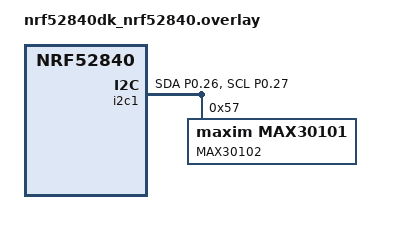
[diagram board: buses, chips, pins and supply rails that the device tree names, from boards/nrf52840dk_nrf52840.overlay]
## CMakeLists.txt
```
# SPDX-License-Identifier: Apache-2.0

cmake_minimum_required(VERSION 3.20.0)
find_package(Zephyr REQUIRED HINTS $ENV{ZEPHYR_BASE})
project(max30101)

FILE(GLOB app_sources 
    src/*.c
    src/main.c
   
)
target_sources(app PRIVATE ${app_sources})



# --- Link prebuilt .a file ---
set(MYLIB_PATH ${CMAKE_CURRENT_SOURCE_DIR}/libas7058a_spo2_a0.a)

add_library(mylib STATIC IMPORTED)
set_target_properties(mylib PROPERTIES IMPORTED_LOCATION ${MYLIB_PATH})

# If you also have headers:
# set_target_properties(mylib PROPERTIES INTERFACE_INCLUDE_DIRECTORIES
#     ${CMAKE_CURRENT_SOURCE_DIR}/include
# )

target_link_libraries(app PRIVATE mylib)
```

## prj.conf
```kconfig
CONFIG_STDOUT_CONSOLE=y
CONFIG_LOG=y
CONFIG_I2C=y
CONFIG_SENSOR=y
CONFIG_SENSOR_LOG_LEVEL_DBG=y

CONFIG_GPIO=y

# Enable FPU on Cortex-M with single-precision (typical M4F/M33F)
CONFIG_FPU=y
CONFIG_FP_HARDABI=y     # if multiple threads/ISRs use floats

# Make IRQ stack bigger (primary fix for “Fault during interrupt handling”)
   # try 2048 or 3072 on nRF54L15

# Give the system workqueue more room (our handler runs here)
CONFIG_SYSTEM_WORKQUEUE_STACK_SIZE=8196

CONFIG_ISR_STACK_SIZE=3072


# Main stack size (if crash is in main thread)
CONFIG_MAIN_STACK_SIZE=4096



# Idle stack size
CONFIG_IDLE_STACK_SIZE=512
```

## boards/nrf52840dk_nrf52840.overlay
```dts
&pinctrl {
    i2c1_default: i2c1_default {
        group1 {
            psels = <NRF_PSEL(TWIM_SDA, 0, 26)>,
                    <NRF_PSEL(TWIM_SCL, 0, 27)>;
        };
    };

    i2c1_sleep: i2c1_sleep {
        group1 {
            psels = <NRF_PSEL(TWIM_SDA, 0, 26)>,
                    <NRF_PSEL(TWIM_SCL, 0, 27)>;
            low-power-enable;
        };
    };
};

&i2c1 {
    status = "okay";
    pinctrl-0 = <&i2c1_default>;
    pinctrl-1 = <&i2c1_sleep>;
    pinctrl-names = "default", "sleep";

    max30102: max30101@57 {
        compatible = "maxim,max30101";
        reg = <0x57>;
        label = "MAX30102";
        status = "okay";
    };
};
```

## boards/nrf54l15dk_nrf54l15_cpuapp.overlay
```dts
// To get started, press Ctrl+Space to bring up the completion menu and view the available nodes.
// For more help, browse the DeviceTree documentation at https://docs.zephyrproject.org/latest/guides/dts/index.html

&i2c21 {
    status = "okay";
    pinctrl-0 = <&i2c21_default>;
    pinctrl-1 = <&i2c21_sleep>;
    pinctrl-names = "default", "sleep";
};


&pinctrl {
	/omit-if-no-ref/ i2c21_default: i2c21_default {
		group1 {
			psels = <NRF_PSEL(TWIM_SCL, 1, 11)>,
				    <NRF_PSEL(TWIM_SDA, 1, 12)>;
		};
	};
    /omit-if-no-ref/ i2c21_sleep: i2c21_sleep {
		group1 {
			psels = <NRF_PSEL(TWIM_SCL, 1, 11)>,
				    <NRF_PSEL(TWIM_SDA, 1, 12)>;
		};
	};
};



/* App-owned properties you can read from code */
 / {
	zephyr,user {
		/* IRQ on P0.09, active-low, with internal pull-up */
		my_sensor_int_gpios = <&gpio1 9 (GPIO_ACTIVE_LOW | GPIO_PULL_UP)>;
	};
};
```

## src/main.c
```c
// AS7058 PPG Data Processing System - OPTIMIZED VERSION
// Focuses on efficient raw PPG data collection and processing
// Streamlined for continuous measurement and data analysis

#include <zephyr/kernel.h>
#include <zephyr/device.h>


#include <signal.h>
#include <stdio.h>
#include <string.h>
#include <unistd.h>

#include "error_codes.h"

#include "as7058_chiplib.h"

#include "vital_signs_accelerometer.h"

#include "as7058a_spo2_a0.h"

#include <zephyr/drivers/gpio.h>
#include <zephyr/drivers/i2c.h>

#include "as7058_osal_chiplib.h"



/*! internal structure which saves OSAL internal parameter */
struct device_config {
    volatile uint8_t init_done;                /*!< 0 < ::as7058_osal_initialize was successful called */
    volatile as7058_osal_interrupt_t callback; /*!< saves the link to the callback function of the chiplib */
};

/******************************************************************************
 *                                  GLOBALS                                   *
 ******************************************************************************/

/*! I2C address of the AS7058 */




/*! Create internal instance of the device configuration */
static struct device_config g_device_config;

/* Pull the GPIO spec from DT: */
static const struct gpio_dt_spec sens_int = GPIO_DT_SPEC_GET(DT_PATH(zephyr_user), my_sensor_int_gpios);
/* Declare the callback object */
static struct gpio_callback sens_cb;


/******************************************************************************
 *                                   GLOBALS                                  *
 ******************************************************************************/

/* Stores whether the SpO2 library is ready for execution. Note that this variable is accessed from multiple threads and
 * that this information should be signaled in a safer way in production code. */
static volatile uint8_t g_ready_for_execution = FALSE;

/* Stores whether the sample code should continue running or whether a stop was requested. Note that this variable is
 * accessed from multiple threads and that this information should be signaled in a safer way in production code. */
static volatile uint8_t g_keep_running = TRUE;

/******************************************************************************
 *                               LOCAL FUNCTIONS                              *
 ******************************************************************************/

/* SIGINT/SIGTERM handler requesting the sample code to stop when Ctrl+C is pressed. */
void signal_handler(int signal)
{
    if (SIGINT == signal || SIGTERM == signal) {
        g_keep_running = FALSE;
    }
}

/* Callback function called by the AS7058 Chip Library when measurement data is available. Data generated by the AS7058A
 * AFE or by the AS7058 Chip Library is provided via function arguments and doesn't need to be polled explicitly. The
 * function forwards the data to the SpO2 library. */
static void as7058_callback(err_code_t error, const uint8_t *p_fifo_data, uint16_t fifo_data_size,
                            const agc_status_t *p_agc_statuses, uint8_t agc_statuses_num,
                            as7058_status_events_t sensor_events, const void *p_cb_param)
{

    //printk("as7058_callback\n");
    /* Unused parameter, silence potentially enabled compiler warning. */
    M_UNUSED_PARAM(p_cb_param);

    err_code_t result = error;
    if (result != ERR_SUCCESS) {
        printf("as7058_callback called with error %d.\n", result);
        return;
    }

    /* Pass data to the SpO2 library. */
    uint8_t ready_for_execution = 0;
    result = as7058a_spo2_a0_set_input(p_fifo_data, fifo_data_size, sensor_events, p_agc_statuses, agc_statuses_num,
                                       &ready_for_execution);
    if (result != ERR_SUCCESS) {
        printf("as7058a_spo2_a0_set_input returned error %d.\n", result);
        return;
    }

    if (ready_for_execution) {
        /* Store the information that the SpO2 algorithm is ready for execution. The main thread will execute the
         * algorithm depending on this information. */
        g_ready_for_execution = ready_for_execution;
    }
}

/******************************************************************************
 *                              GLOBAL FUNCTIONS                              *
 ******************************************************************************/


int main(void)
{


    /**************************************************************************
     *                             INITIALIZATION                             *
     **************************************************************************/

    /* Initialize the AS7058 Chip Library. For this sample code, only the first and the fourth argument of this function
     * are of relevance. The other arguments can be set to NULL. The first argument points to a callback function that
     * is called when new measurement data of the regular measurement mode is available. The fourth argument is an
     * OSAL-specific interface string. For the Windows OSAL that is used by this sample code, this string needs to
     * contain the serial port the AS7058A EVK is connected to, prefixed by "COM:". Assuming that the AS7058A EVK is
     * connected to serial port COM7, the interface string needs to be "COM:COM7". */


    err_code_t result = as7058_initialize(as7058_callback, NULL, NULL, NULL);
    if (result != ERR_SUCCESS) {
        printf("as7058_initialize returned error %d.\n", result);
        goto ERROR;
    }


    /* Initialize the SpO2 library. */
    result = as7058a_spo2_a0_initialize();
    if (result != ERR_SUCCESS) {
        printf("as7058a_spo2_a0_initialize returned error %d.\n", result);
        goto ERROR;
    }

    /**************************************************************************
     *                              CONFIGURATION                             *
     **************************************************************************/

    /* Apply a register configuration to the AS7058A AFE using the AS7058 Chip Library. This configuration is suitable
     * for SpO2 measurements using the AS7058A EVK. For more information regarding the register values, please refer to
     * the datasheet. */

    /* Configure register group POWER of the AS7058A AFE. */
    const as7058_reg_group_power_t power_config = {{
        .pwr_on = 7,
        .pwr_iso = 0,
        .clk_cfg = 7,
        .ref_cfg1 = 63,
        .ref_cfg2 = 0,
        .ref_cfg3 = 0,
        .standby_on1 = 0,
        .standby_on2 = 0,
        .standby_en1 = 4,
        .standby_en2 = 2,
        .standby_en3 = 4,
        .standby_en4 = 0,
        .standby_en5 = 3,
        .standby_en6 = 16,
        .standby_en7 = 16,
        .standby_en8 = 4,
        .standby_en9 = 0,
        .standby_en10 = 3,
        .standby_en11 = 16,
        .standby_en12 = 16,
        .standby_en13 = 16,
        .standby_en14 = 16,
    }};
    result = as7058_set_reg_group(AS7058_REG_GROUP_ID_PWR, power_config.reg_buffer, sizeof(as7058_reg_group_power_t));
    if (result != ERR_SUCCESS) {
        printf("Writing register group AS7058_REG_GROUP_ID_PWR returned error %d.\n", result);
        goto ERROR;
    }

    /* Configure register group CONTROL of the AS7058A AFE. */
    const as7058_reg_group_control_t control_config = {{
        .i2c_mode = 0,
        .int_cfg = 0,
        .if_cfg = 72,
        .gpio_cfg1 = 0,
        .gpio_cfg2 = 0,
        .io_cfg = 0,
    }};
    result =
        as7058_set_reg_group(AS7058_REG_GROUP_ID_CTRL, control_config.reg_buffer, sizeof(as7058_reg_group_control_t));
    if (result != ERR_SUCCESS) {
        printf("Writing register group AS7058_REG_GROUP_ID_CTRL returned error %d.\n", result);
        goto ERROR;
    }

    /* Configure register group LED of the AS7058A AFE. */
    const as7058_reg_group_led_t led_config = {{
        .vcsel_password = 87,
        .vcsel_cfg = 0,
        .vcsel_mode = 0,
        .led_cfg = 0,
        .led_drv1 = 0,
        .led_drv2 = 0,
        .led1_ictrl = 0,
        .led2_ictrl = 0,
        .led3_ictrl = 0,
        .led4_ictrl = 0,
        .led5_ictrl = 0,
        .led6_ictrl = 0,
        .led7_ictrl = 0,
        .led8_ictrl = 0,
        .led_irng1 = 63,
        .led_irng2 = 0,
        .led_sub1 = 2,
        .led_sub2 = 3,
        .led_sub3 = 0,
        .led_sub4 = 0,
        .led_sub5 = 0,
        .led_sub6 = 0,
        .led_sub7 = 0,
        .led_sub8 = 0,
        .lowvds_wait = 0,
    }};
    result = as7058_set_reg_group(AS7058_REG_GROUP_ID_LED, led_config.reg_buffer, sizeof(as7058_reg_group_led_t));
    if (result != ERR_SUCCESS) {
        printf("Writing register group AS7058_REG_GROUP_ID_LED returned error %d.\n", result);
        goto ERROR;
    }

    /* Configure register group PD of the AS7058A AFE. */
    const as7058_reg_group_pd_t pd_config = {{
        .pdsel_cfg = 0,
        .ppg1_pdsel1 = 2,
        .ppg1_pdsel2 = 2,
        .ppg1_pdsel3 = 2,
        .ppg1_pdsel4 = 0,
        .ppg1_pdsel5 = 0,
        .ppg1_pdsel6 = 0,
        .ppg1_pdsel7 = 0,
        .ppg1_pdsel8 = 0,
        .ppg2_pdsel1 = 0,
        .ppg2_pdsel2 = 0,
        .ppg2_pdsel3 = 0,
        .ppg2_pdsel4 = 0,
        .ppg2_pdsel5 = 0,
        .ppg2_pdsel6 = 0,
        .ppg2_pdsel7 = 0,
        .ppg2_pdsel8 = 0,
        .ppg2_afesel1 = 0,
        .ppg2_afesel2 = 0,
        .ppg2_afesel3 = 0,
        .ppg2_afesel4 = 0,
        .ppg2_afeen = 0,
    }};
    result = as7058_set_reg_group(AS7058_REG_GROUP_ID_PD, pd_config.reg_buffer, sizeof(as7058_reg_group_pd_t));
    if (result != ERR_SUCCESS) {
        printf("Writing register group AS7058_REG_GROUP_ID_PD returned error %d.\n", result);
        goto ERROR;
    }

    /* Configure register group IOS of the AS7058A AFE. */
    const as7058_reg_group_ios_t ios_config = {{
        .ios_ppg1_sub1 = 0,
        .ios_ppg1_sub2 = 0,
        .ios_ppg1_sub3 = 0,
        .ios_ppg1_sub4 = 0,
        .ios_ppg1_sub5 = 0,
        .ios_ppg1_sub6 = 0,
        .ios_ppg1_sub7 = 0,
        .ios_ppg1_sub8 = 0,
        .ios_ppg2_sub1 = 0,
        .ios_ppg2_sub2 = 0,
        .ios_ppg2_sub3 = 0,
        .ios_ppg2_sub4 = 0,
        .ios_ppg2_sub5 = 0,
        .ios_ppg2_sub6 = 0,
        .ios_ppg2_sub7 = 0,
        .ios_ppg2_sub8 = 0,
        .ios_ledoff = 0,
        .ios_cfg = 0,
        .aoc_sar_thres = 0,
        .aoc_sar_range = 0,
        .aoc_sar_ppg1 = 0,
        .aoc_sar_ppg2 = 0,

    }};
    result = as7058_set_reg_group(AS7058_REG_GROUP_ID_IOS, ios_config.reg_buffer, sizeof(as7058_reg_group_ios_t));
    if (result != ERR_SUCCESS) {
        printf("Writing register group AS7058_REG_GROUP_ID_IOS returned error %d.\n", result);
        goto ERROR;
    }

    /* Configure register group PPG of the AS7058A AFE. */
    const as7058_reg_group_ppg_t ppg_config = {{
        .ppgmod_cfg1 = 0,
        .ppgmod_cfg2 = 0,
        .ppgmod_cfg3 = 0,
        .ppgmod1_cfg1 = 167,
        .ppgmod1_cfg2 = 100,
        .ppgmod1_cfg3 = 7,
        .ppgmod2_cfg1 = 39,
        .ppgmod2_cfg2 = 84,
        .ppgmod2_cfg3 = 3,
    }};
    result = as7058_set_reg_group(AS7058_REG_GROUP_ID_PPG, ppg_config.reg_buffer, sizeof(as7058_reg_group_ppg_t));
    if (result != ERR_SUCCESS) {
        printf("Writing register group AS7058_REG_GROUP_ID_PPG returned error %d.\n", result);
        goto ERROR;
    }

    /* Configure register group ECG of the AS7058A AFE. */
    const as7058_reg_group_ecg_t ecg_config = {{
        .bioz_cfg = 0,
        .bioz_excit = 0,
        .bioz_mixer = 0,
        .bioz_select = 0,
        .bioz_gain = 0,
        .ecgmod_cfg1 = 0,
        .ecgmod_cfg2 = 0,
        .ecgimux_cfg1 = 0,
        .ecgimux_cfg2 = 0,
        .ecgimux_cfg3 = 0,
        .ecgamp_cfg1 = 0,
        .ecgamp_cfg2 = 0,
        .ecgamp_cfg3 = 0,
        .ecgamp_cfg4 = 0,
        .ecgamp_cfg5 = 0,
        .ecgamp_cfg6 = 0,
        .ecgamp_cfg7 = 0,
        .ecg_bioz = 0,
        .leadoff_cfg = 0,
        .leadoff_thresl = 0,
        .leadoff_thresh = 0,
    }};
    result = as7058_set_reg_group(AS7058_REG_GROUP_ID_ECG, ecg_config.reg_buffer, sizeof(as7058_reg_group_ecg_t));
    if (result != ERR_SUCCESS) {
        printf("Writing register group AS7058_REG_GROUP_ID_ECG returned error %d.\n", result);
        goto ERROR;
    }

    /* Configure register group SINC of the AS7058A AFE. */
    const as7058_reg_group_sinc_t sinc_config = {{
        .ppg_sinc_cfga = 4,
        .ppg_sinc_cfgb = 3,
        .ppg_sinc_cfgc = 0,
        .ppg_sinc_cfgd = 0,
        .ecg1_sinc_cfga = 0,
        .ecg1_sinc_cfgb = 0,
        .ecg1_sinc_cfgc = 0,
        .ecg2_sinc_cfga = 0,
        .ecg2_sinc_cfgb = 0,
        .ecg2_sinc_cfgc = 0,
        .ecg_sinc_cfg = 0,
    }};
    result = as7058_set_reg_group(AS7058_REG_GROUP_ID_SINC, sinc_config.reg_buffer, sizeof(as7058_reg_group_sinc_t));
    if (result != ERR_SUCCESS) {
        printf("Writing register group AS7058_REG_GROUP_ID_SINC returned error %d.\n", result);
        goto ERROR;
    }

    /* Configure register group SEQ of the AS7058A AFE. */
    const as7058_reg_group_seq_t seq_config = {{
        .irq_enable = 22,
        .ppg_sub_wait = 50,
        .ppg_sar_wait = 0,
        .ppg_led_init = 25,
        .ppg_freql = 63,
        .ppg_freqh = 1,
        .ppg1_sub_en = 7,
        .ppg2_sub_en = 0,
        .ppg_mode_1 = 0,
        .ppg_mode_2 = 0,
        .ppg_mode_3 = 0,
        .ppg_mode_4 = 0,
        .ppg_mode_5 = 0,
        .ppg_mode_6 = 0,
        .ppg_mode_7 = 0,
        .ppg_mode_8 = 0,
        .ppg_cfg = 0,
        .ecg_freql = 79,
        .ecg_freqh = 0,
        .ecg1_freqdivl = 0,
        .ecg1_freqdivh = 0,
        .ecg2_freqdivl = 0,
        .ecg2_freqdivh = 0,
        .ecg_subs = 0,
        .leadoff_initl = 0,
        .leadoff_inith = 0,
        .ecg_initl = 1,
        .ecg_inith = 0,
        .sample_num = 0,
    }};
    result = as7058_set_reg_group(AS7058_REG_GROUP_ID_SEQ, seq_config.reg_buffer, sizeof(as7058_reg_group_seq_t));
    if (result != ERR_SUCCESS) {
        printf("Writing register group AS7058_REG_GROUP_ID_SEQ returned error %d.\n", result);
        goto ERROR;
    }

    /* Configure register group PP of the AS7058A AFE. */
    const as7058_reg_group_pp_t pp_config = {{
        .pp_cfg = 0,
        .ppg1_pp1 = 0,
        .ppg1_pp2 = 0,
        .ppg2_pp1 = 0,
        .ppg2_pp2 = 0,
    }};
    result = as7058_set_reg_group(AS7058_REG_GROUP_ID_PP, pp_config.reg_buffer, sizeof(as7058_reg_group_pp_t));
    if (result != ERR_SUCCESS) {
        printf("Writing register group AS7058_REG_GROUP_ID_PP returned error %d.\n", result);
        goto ERROR;
    }

    /* Configure register group FIFO of the AS7058A AFE. */
    const as7058_reg_group_fifo_t fifo_config = {{
        .fifo_threshold = 14,
        .fifo_ctrl = 0,
    }};
    result = as7058_set_reg_group(AS7058_REG_GROUP_ID_FIFO, fifo_config.reg_buffer, sizeof(as7058_reg_group_fifo_t));
    if (result != ERR_SUCCESS) {
        printf("Writing register group AS7058_REG_GROUP_ID_FIFO returned error %d.\n", result);
        goto ERROR;
    }

    /* Configure the Automatic Gain Control (AGC) algorithm using a dual-channel configuration that is suitable for SpO2
     * measurements using the AS7058A EVK. */
    const agc_configuration_t agc_config[2] = {
        {
            .mode = AGC_MODE_DEFAULT,
            .led_control_mode = AGC_AMPL_CNTL_MODE_AUTO,
            .channel = AS7058_SUB_SAMPLE_ID_PPG1_SUB1,
            .led_current_min = 15,
            .led_current_max = 50,
            .rel_amplitude_min_x100 = 5,
            .rel_amplitude_max_x100 = 25,
            .rel_amplitude_motion_x100 = 50,
            .num_led_steps = 5,
            .threshold_min = 300000,
            .threshold_max = 800000,
        },
        {
            .mode = AGC_MODE_DEFAULT,
            .led_control_mode = AGC_AMPL_CNTL_MODE_AUTO,
            .channel = AS7058_SUB_SAMPLE_ID_PPG1_SUB2,
            .led_current_min = 10,
            .led_current_max = 30,
            .rel_amplitude_min_x100 = 5,
            .rel_amplitude_max_x100 = 25,
            .rel_amplitude_motion_x100 = 50,
            .num_led_steps = 5,
            .threshold_min = 250000,
            .threshold_max = 770000,
        },
    };
    result = as7058_set_agc_config(agc_config, 2);
    if (result != ERR_SUCCESS) {
        printf("as7058_set_agc_config returned error %d.\n", result);
        goto ERROR;
    }

    /* Indicate to the SpO2 library that the AS7058A AFE was configured to use sub-sample 1 of the PPG modulator 1 to
     * acquire red PPG samples, sub-sample 2 of the PPG modulator 1 to acquire infrared PPG samples, and sub-sample 3 of
     * the PPG modulator 1 to acquire ambient light samples. */
    result = as7058a_spo2_a0_set_signal_routing(AS7058_SUB_SAMPLE_ID_PPG1_SUB1, AS7058_SUB_SAMPLE_ID_PPG1_SUB2,
                                                AS7058_SUB_SAMPLE_ID_PPG1_SUB3);
    if (result != ERR_SUCCESS) {
        printf("as7058a_spo2_a0_set_signal_routing returned error %d.\n", result);
        goto ERROR;
    }

    /* Configure the SpO2 library with calibration parameters suitable for the AS7058A EVK. */
    bio_spo2_a0_configuration_t spo2_config = {
        .a = 0,
        .b = 3499,
        .c = 11493,
        .dc_comp_red = 2079,
        .dc_comp_ir = 2079,
    };
    result = as7058a_spo2_a0_configure(spo2_config);
    if (result != ERR_SUCCESS) {
        printf("as7058a_spo2_a0_configure returned error %d.\n", result);
        goto ERROR;
    }

    /**************************************************************************
     *                            START MEASUREMENT                           *
     **************************************************************************/

    /* Get the current measurement configuration from the AS7058 Chip Library. This information is necessary to start a
     * processing session in the SpO2 library. Do not change the configuration of the AS7058A AFE or the AGC algorithm
     * after calling this function. */
    as7058_meas_config_t meas_config;
    result = as7058_get_measurement_config(&meas_config);
    if (result != ERR_SUCCESS) {
        printf("as7058_get_measurement_config returned error %d.\n", result);
        goto ERROR;
    }

    /* Start a processing session in the SpO2 library. To start a processing session, the current measurement
     * configuration from the AS7058 Chip Library needs to be passed. The SpO2 library only accepts measurement data
     * while it is in a processing session. When the measurement is interrupted, it is important to stop the current
     * processing session by calling as7058a_spo2_a0_stop_processing and to start a new processing session before
     * resuming the measurement. */
    result = as7058a_spo2_a0_start_processing(meas_config);
    if (result != ERR_SUCCESS) {
        printf("as7058a_spo2_a0_start_processing returned error %d.\n", result);
        goto ERROR;
    }

    /* Start data acquisition in the AS7058 Chip Library. For SpO2 monitoring, PPG measurements are required, i.e.
     * AS7058_MEAS_MODE_NORMAL is to be used. */
    result = as7058_start_measurement(AS7058_MEAS_MODE_NORMAL);
    if (result != ERR_SUCCESS) {
        printf("as7058_start_measurement returned error %d.\n", result);
        goto ERROR;
    }

    /**************************************************************************
     *                           DURING MEASUREMENT                           *
     **************************************************************************/

    printf("\nPress Ctrl+C to stop the measurement.\n\n");

    uint32_t output_counter = 0;
    while (g_keep_running) {
        /* Check whether the SpO2 library indicated that it is ready for execution.  */
        if (g_ready_for_execution) {
            /* Execute the SpO2 algorithm. */
            result = as7058a_spo2_a0_execute();
            if (ERR_SUCCESS == result) {
                /* Output is available from the SpO2 library. */

                /* Get output from the SpO2 library. */
                bio_spo2_a0_output_t spo2_output;
                result = as7058a_spo2_a0_get_output(&spo2_output);
                if (result != ERR_SUCCESS) {
                    printf("as7058a_spo2_a0_get_output returned error %d.\n", result);
                    goto ERROR;
                }

                /* Print SpO2 library output. */
                if (!spo2_output.status) {
                    printf("[%u] SpO2: %d%%, Heart Rate: %d bpm, Quality: %d%%\n", output_counter,
                           spo2_output.spo2 / 100, spo2_output.heart_rate / 10, spo2_output.quality);
                } else {
                    printf("[%u] No valid output\n", output_counter);
                }
                output_counter++;
            } else if (ERR_NO_DATA == result) {
                /* No output is available from the SpO2 library. */
            } else {
                printf("as7058a_spo2_a0_execute returned error %d.\n", result);
                goto ERROR;
            }

            /* Clear information that the SpO2 library is ready for execution. */
            g_ready_for_execution = FALSE;
        } else {
            /* Sleep before re-checking whether the SpO2 library is ready for execution */
            k_msleep(100);
        }
    }

    /**************************************************************************
     *                            STOP MEASUREMENT                            *
     **************************************************************************/

    /* Stop data acquisition in the AS7058 Chip Library. */
    result = as7058_stop_measurement();
    if (result != ERR_SUCCESS) {
        printf("as7058_stop_measurement returned error %d.\n", result);
        goto ERROR;
    }

    /* Stop the current processing session in the SpO2 library. */
    result = as7058a_spo2_a0_stop_processing();
    if (result != ERR_SUCCESS) {
        printf("as7058a_spo2_a0_stop_processing returned error %d.\n", result);
        goto ERROR;
    }

ERROR:

    /**************************************************************************
     *                            DE-INITIALIZATION                           *
     **************************************************************************/

    /* De-initialize the AS7058 Chip Library. */
    result = as7058_shutdown();
    if (result != ERR_SUCCESS) {
        printf("as7058_shutdown returned error %d.\n", result);
    }

    /* De-initialize the SpO2 library. */
    result = as7058a_spo2_a0_shutdown();
    if (result != ERR_SUCCESS) {
        printf("as7058a_spo2_a0_shutdown returned error %d.\n", result);
    }

    return result;
}
```

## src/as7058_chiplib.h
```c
/******************************************************************************
 * Copyright © 2022 ams-OSRAM AG                                              *
 * All rights are reserved.                                                   *
 *                                                                            *
 * FOR FULL LICENSE TEXT SEE LICENSE.TXT                                      *
 *                                                                            *
 ******************************************************************************/

#ifndef __AS7058_CHIP_LIB_H__
#define __AS7058_CHIP_LIB_H__

#ifdef __cplusplus
extern "C" {
#endif // __cplusplus

/*!
 * \file        as7058_chiplib.h
 * \authors     ARIT
 * \copyright   ams OSRAM
 * \addtogroup  chiplib_group ChipLib Functions
 *
 * \brief This is the chip library for ams vital signs chip AS7058.
 *
 * @{
 */

/******************************************************************************
 *                                 INCLUDES                                   *
 ******************************************************************************/

#include "agc_typedefs.h"
#include "as7058_typedefs.h"
#include "error_codes.h"
#include "std_inc.h"

/******************************************************************************
 *                                DEFINITIONS                                 *
 ******************************************************************************/

/******************************************************************************
 *                                 FUNCTIONS                                  *
 ******************************************************************************/

/*!
 * \brief Initializes the library and the device.
 *
 * Following tasks will be done here:
 * - Initialize hardware abstraction layer.
 * - Reset chip.
 *
 * \note This function must be called at first, otherwise all other functions return with error code.
 *
 * \param[in] p_normal_callback     Pointer to normal callback function, see as7058_callback_t.
 * \param[in] p_special_callback    Pointer to special callback function, see ::as7058_callback_special_measurement_t.
 *                                  Can be NULL if no special measurement is needed.
 * \param[in] p_cb_param            Optional pointer to an application parameter, which will be transmitted with every
 *                                  callback.
 * \param[in] p_interface_descr     Chiplib forwards this interface description to as7058_osal_initialize.
 *
 * \retval ::ERR_SUCCESS            Function returns without error.
 * \retval ::ERR_ARGUMENT           An argument is invalid.
 * \retval ::ERR_IDENTIFICATION     The specified sensor was not found.
 * \retval ::ERR_DATA_TRANSFER      Error during communication with sensor.
 */
err_code_t as7058_initialize(const as7058_callback_t p_normal_callback,
                             const as7058_callback_special_measurement_t p_special_callback, const void *p_cb_param,
                             const char *p_interface_descr);

/*!
 * \brief Stops all internal actions and power down the device.
 *
 * Following tasks will be done here:
 * - Stops measurement, if running.
 * - Power down the sensor device.
 * - Shutdown the hardware abstraction layer.
 * - Block calling of all other functions, but initialize.
 *
 * \retval ::ERR_SUCCESS        Function returns without error.
 * \retval ::ERR_DATA_TRANSFER  Error during communication with sensor.
 */
err_code_t as7058_shutdown(void);

void interrupt_calling_func(void);

uint8_t* get_fifo_data();

as7058_status_events_t *get_status_events();

/*!
 * \brief Write a register group.
 *
 * This function configures the sensor by directly writing values to a group of sensor registers.
 *
 * \param[in] id                    Identification number of the register group, see ::as7058_reg_group_ids.
 * \param[in] p_data                Pointer to the register data, like ::as7058_reg_group_led_t.
 * \param[in] size                  Sets the size of register data in bytes.
 *
 * \retval ::ERR_SUCCESS            Function returns without error.
 * \retval ::ERR_PERMISSION         Access to the library is blocked, call ::as7058_initialize first.
 * \retval ::ERR_ARGUMENT           Register group id is not supported.
 * \retval ::ERR_POINTER            Detected NULL pointer for p_data.
 * \retval ::ERR_SIZE               Size of the data buffer is wrong.
 * \retval ::ERR_DATA_TRANSFER      Error during communication with sensor.
 */
err_code_t as7058_set_reg_group(as7058_reg_group_ids_t id, const uint8_t *p_data, uint8_t size);

/*!
 * \brief Read a register group.
 *
 * Reads the actual register data into a register group structure.
 *
 * \param[in] id                    Identification number of the register group, see ::as7058_reg_group_ids.
 * \param[out] p_data               Pointer, where the data of the register group can be saved.
 * \param[inout] p_size             IN: Maximum buffer size, OUT: Size in byte of the register group data
 *                                  The maximum size is defined in ::AS7058_MAX_GROUP_SIZE.
 *
 * \retval ::ERR_SUCCESS            Function returns without error.
 * \retval ::ERR_PERMISSION         Access to the library is blocked, call ::as7058_initialize at first.
 * \retval ::ERR_ARGUMENT           Register group id is not supported.
 * \retval ::ERR_POINTER            Detected NULL pointer on arguments.
 * \retval ::ERR_SIZE               Size of the data buffer is wrong.
 * \retval ::ERR_DATA_TRANSFER      Error during communication with sensor.
 */
err_code_t as7058_get_reg_group(as7058_reg_group_ids_t id, uint8_t *p_data, uint8_t *p_size);

/*!
 * \brief Write register.
 *
 * This function sets the value of a single sensor register.
 *
 * \param[in] reg_addr              Register address of the sensor, see ::as7058_reg_addresses.
 * \param[in] reg_val               New register value, which will be written to the register address.
 *
 * \retval ::ERR_SUCCESS            Function returns without error.
 * \retval ::ERR_PERMISSION         Access to the library is blocked, call ::as7058_initialize at first.
 * \retval ::ERR_DATA_TRANSFER      Error during communication with sensor.
 */
err_code_t as7058_write_register(as7058_reg_addresses_t reg_addr, uint8_t reg_val);

/*!
 * \brief Read register.
 *
 * This function gets the value of a single sensor register.
 *
 * \param[in] reg_addr              Register address of the sensor, see ::as7058_reg_addresses.
 * \param[out] p_reg_val            Actual register value, which was read from the register address.
 *
 * \retval ::ERR_SUCCESS            Function returns without error.
 * \retval ::ERR_PERMISSION         Access to the library is blocked, call ::as7058_initialize at first.
 * \retval ::ERR_POINTER            Detected NULL pointer for p_reg_val.
 * \retval ::ERR_DATA_TRANSFER      Error during communication with sensor.
 */
err_code_t as7058_read_register(as7058_reg_addresses_t reg_addr, uint8_t *p_reg_val);

/*!
 * \brief Read the actual measurement configuration, which was set by the register groups.
 *
 * \note The measurement configuration can be changed after set of new register blocks or writting to single registers.
 * Therefore, read it back after finished configuration to get the actual values.
 *
 * \param[out] p_meas_config   Actual measurement configuration, See ::as7058_meas_config_t
 *
 * \retval ::ERR_SUCCESS            Function returns without error.
 * \retval ::ERR_PERMISSION         Access to the library is blocked, call ::as7058_initialize at first.
 * \retval ::ERR_POINTER            Detected NULL pointer for p_meas_config.
 * \retval ::ERR_DATA_TRANSFER      Error during communication with sensor.
 */
err_code_t as7058_get_measurement_config(as7058_meas_config_t *p_meas_config);

/*!
 * \brief Sets the configuration for auto-gain-control (AGC)
 *
 * \param[in] p_agc_configs         Pointer to store AGC configuration information for up to 4 channels.
 * \param[in] agc_config_num        Number of given channels.
 *
 * \retval ::ERR_SUCCESS            Function returns without error.
 * \retval ::ERR_ARGUMENT           At least one parameter is wrong.
 * \retval ::ERR_PERMISSION         Access to the library is blocked, call ::as7058_initialize at first.
 * \retval ::ERR_POINTER            Detected NULL pointer for p_agc_config.
 */
err_code_t as7058_set_agc_config(const agc_configuration_t *p_agc_configs, uint8_t agc_config_num);

/*!
 * \brief Gets the configuration for auto-gain-control (AGC)
 *
 * \param[out] p_agc_configs        Pointer to store AGC configuration for activated channels.
 * \param[inout] p_agc_config_num   Number of channels. IN: Defines how how many AGC channel configurations can be saved
 *                                  inside p_agc_configs. OUT: number of enabled AGC channels.
 * \retval ::ERR_SUCCESS            Function returns without error.
 * \retval ::ERR_PERMISSION         Access to the library is blocked, call ::as7058_initialize at first.
 * \retval ::ERR_POINTER            Detected NULL pointer for p_agc_config.
 */
err_code_t as7058_get_agc_config(agc_configuration_t *p_agc_configs, uint8_t *p_agc_config_num);

/*!
 * \brief Starts a measurement.
 *
 * \param[in] mode                  Measurement mode, see ::as7058_meas_mode.
 *
 * \retval ::ERR_SUCCESS            Function returns without error.
 * \retval ::ERR_ARGUMENT           Invalid measurement mode provided.
 * \retval ::ERR_PERMISSION         Access to the library is blocked, call ::as7058_initialize at first.
 * \retval ::ERR_DATA_TRANSFER      Error during communication with sensor.
 * \retval ::ERR_CONFIG             No sub-sample is enabled, AOC and AGC are enabled in parallel, or sensor is not
 *                                  properly configured for impedance scaling.
 */
err_code_t as7058_start_measurement(as7058_meas_mode_t mode);

/*!
 * \brief Stops a measurement.
 *
 * \retval ::ERR_SUCCESS            Function returns without error.
 * \retval ::ERR_PERMISSION         Access to the library is blocked, call ::as7058_initialize at first.
 * \retval ::ERR_DATA_TRANSFER      Error during communication with sensor.
 */
err_code_t as7058_stop_measurement(void);

/*!
 * \brief Requests the version information.
 *
 * \return Version string.
 */
const char *as7058_get_version(void);

/*!
 * \brief Configures a special measurement mode.
 *
 * Before starting a measurement of mode ::AS7058_MEAS_MODE_SPECIAL_BIOZ or ::AS7058_MEAS_MODE_SPECIAL_SCALING_EDA, the
 * corresponding measurement mode needs to be configured.
 *
 * \param[in] mode                  Measurement mode. See ::as7058_meas_mode.
 * \param[in] p_config              Pointer to the configuration structure for the special measurement mode.
 *                                  See ::as7058_eda_scaling_config_t and ::as7058_bioz_meas_config_t.
 * \param[in] size                  Size of the configuration structure.
 *
 * \retval ::ERR_SUCCESS            Function returns without error.
 * \retval ::ERR_PERMISSION         Access to this function is blocked. Depending on the current state of the library,
 *                                  call ::as7058_initialize or ::as7058_stop_measurement.
 * \retval ::ERR_ARGUMENT           Provided configuration contains an invalid value.
 * \retval ::ERR_POINTER            Detected NULL pointer for p_config.
 * \retval ::ERR_SIZE               The size of the configuration does not fit to the mode.
 * \retval ::ERR_CONFIG             Special measurement callback was not set when ::as7058_initialize was called.
 */
err_code_t as7058_set_special_measurement_config(as7058_meas_mode_t mode, const void *p_config, uint16_t size);

#ifdef __cplusplus
}
#endif // __cplusplus

/*! @} */

#endif /* __AS7058_CHIP_LIB_H__ */
```

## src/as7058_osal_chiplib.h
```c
/******************************************************************************
 * Copyright © 2022 ams-OSRAM AG                                              *
 * All rights are reserved.                                                   *
 *                                                                            *
 * FOR FULL LICENSE TEXT SEE LICENSE.TXT                                      *
 *                                                                            *
 ******************************************************************************/

#ifndef __AS7058_OSAL_H__
#define __AS7058_OSAL_H__

/*!
 * \file      as7058_osal_chiplib.h
 * \authors   ARIT
 * \copyright ams OSRAM
 * \addtogroup osal_group OSAL Functions
 *
 * \brief This is the abstraction layer for the chip library.
 *
 * Some functions of the chip library are dependent on the operating system. These functions concern initialization,
 * shutdown, I2C transfers, and interrupt handling. They need to be implemented specifically for each application.
 *
 * @{
 */

/******************************************************************************
 *                                 INCLUDES                                   *
 ******************************************************************************/

#include "error_codes.h"
#include "std_inc.h"

#ifdef __cplusplus
extern "C" {
#endif // __cplusplus

/******************************************************************************
 *                                DEFINITIONS                                 *
 ******************************************************************************/
/*!
 * \brief Callback function which will be called if a new interrupt notification is available.
 *
 * This callback function is registered using the function ::as7058_osal_register_int_handler.
 *
 */
typedef err_code_t (*as7058_osal_interrupt_t)(void);

/******************************************************************************
 *                                 FUNCTIONS                                  *
 ******************************************************************************/

/*!
 * \brief Initialization of the hardware abstraction layer.
 *
 * - Initialization of global parameters.
 * - Opens the interface to the sensor.
 *
 * \note This function must be called first!
 *
 * \param[in] p_interface_desc      Can be used to transfer special initialization data like interface description.
 *
 * \retval ::ERR_SUCCESS            Function returns without error.
 * \retval ::ERR_ARGUMENT           Argument content is not supported.
 * \retval ::ERR_COM_INTERFACE      The interface to the sensor is faulty.
 */
err_code_t as7058_osal_initialize(const char *p_interface_desc);

/*!
 * \brief Shutdown of the hardware abstraction layer.
 *
 * - Closes the interface to the sensor
 * - Deactivates the ENABLE-Pin
 *
 * \note This function must be called for cleanup
 *
 * \retval ::ERR_SUCCESS            Function returns without error.
 * \retval ::ERR_COM_INTERFACE      The interface to the sensor is faulty.
 */
err_code_t as7058_osal_shutdown(void);

/*!
 * \brief Set register values inside the chip.
 *
 * \param[in] address               Register address of the first register to write.
 * \param[in] number                Number of registers to write. The register address is auto-incremented by the
 *                                  sensor.
 * \param[in] p_values              Pointer to register values.
 *
 * \retval ::ERR_SUCCESS            Function returns without error.
 * \retval ::ERR_POINTER            NULL pointer detected.
 * \retval ::ERR_DATA_TRANSFER      Data transfer error, like bus error or timeout.
 * \retval ::ERR_PERMISSION         Library was not initialized using ::as7058_osal_initialize.
 */
err_code_t as7058_osal_write_registers(uint8_t address, uint16_t number, const uint8_t *p_values);

/*!
 * \brief Get register values from the chip.
 *
 * \param[in] address               Register address of the first register to read.
 * \param[in] number                Number of registers to read. The register address is auto-incremented by the sensor.
 * \param[out] p_values             Pointer to buffer where the read register values are written to.
 *
 * \retval ::ERR_SUCCESS            Function returns without error.
 * \retval ::ERR_POINTER            NULL pointer detected.
 * \retval ::ERR_DATA_TRANSFER      Data transfer error, like bus error or timeout.
 * \retval ::ERR_PERMISSION         Library was not initialized using ::as7058_osal_initialize.
 */
err_code_t as7058_osal_read_registers(uint8_t address, uint16_t number, uint8_t *p_values);

/*!
 * \brief Registers and unregisters an interrupt handler.
 *
 * If the function pointer is NULL, then the old callback will be unregistered.
 *
 * \param[in] callback_function     Pointer to callback function or NULL.
 *
 * \retval ::ERR_SUCCESS            Function returns without error.
 * \retval ::ERR_PERMISSION         Library was not initialized using ::as7058_osal_initialize.
 */
err_code_t as7058_osal_register_int_handler(const as7058_osal_interrupt_t callback_function);

#ifdef __cplusplus
}
#endif // __cplusplus

/*! @} */

#endif /* __AS7058_OSAL_H__ */
```

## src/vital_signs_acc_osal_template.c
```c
/******************************************************************************
 * Copyright by ams AG                                                        *
 * All rights are reserved.                                                   *
 *                                                                            *
 * IMPORTANT - PLEASE READ CAREFULLY BEFORE COPYING, INSTALLING OR USING      *
 * THE SOFTWARE.                                                              *
 *                                                                            *
 * THIS SOFTWARE IS PROVIDED BY THE COPYRIGHT HOLDERS AND CONTRIBUTORS        *
 * "AS IS" AND ANY EXPRESS OR IMPLIED WARRANTIES, INCLUDING, BUT NOT          *
 * LIMITED TO, THE IMPLIED WARRANTIES OF MERCHANTABILITY AND FITNESS          *
 * FOR A PARTICULAR PURPOSE ARE DISCLAIMED. IN NO EVENT SHALL THE COPYRIGHT   *
 * OWNER OR CONTRIBUTORS BE LIABLE FOR ANY DIRECT, INDIRECT, INCIDENTAL,      *
 * SPECIAL, EXEMPLARY, OR CONSEQUENTIAL DAMAGES (INCLUDING, BUT NOT           *
 * LIMITED TO, PROCUREMENT OF SUBSTITUTE GOODS OR SERVICES; LOSS OF USE,      *
 * DATA, OR PROFITS; OR BUSINESS INTERRUPTION) HOWEVER CAUSED AND ON ANY      *
 * THEORY OF LIABILITY, WHETHER IN CONTRACT, STRICT LIABILITY, OR TORT        *
 * (INCLUDING NEGLIGENCE OR OTHERWISE) ARISING IN ANY WAY OUT OF THE USE      *
 * OF THIS SOFTWARE, EVEN IF ADVISED OF THE POSSIBILITY OF SUCH DAMAGE.       *
 ******************************************************************************/

/* This template can be used as starting point when implementing a custom OSAL for the Vital Signs Accelerometer
 * component. All lines that contain "// TODO:" need to be replaced with platform-specific code. */

/******************************************************************************
 *                                 INCLUDES                                   *
 ******************************************************************************/

 
#include <zephyr/kernel.h>
#include <zephyr/device.h>
#include <zephyr/drivers/i2c.h>
#include <zephyr/drivers/sensor.h>

#include <zephyr/drivers/gpio.h>
#include <hal/nrf_gpio.h>


#include "vital_signs_acc_osal.h"
#include "error_codes.h"
#include "common.h"

static const struct device *i2c_dev2 = DEVICE_DT_GET(DT_NODELABEL(i2c21));

#define LIS12DH_I2C_ADDR 0x19

/******************************************************************************
 *                             GLOBAL FUNCTIONS                               *
 ******************************************************************************/


err_code_t vs_acc_osal_transfer_i2c(const char *p_config, uint8_t dev_addr, const uint8_t *p_send_data,
                                    uint16_t send_len, uint8_t *p_recv_data, uint16_t recv_len)
{
    M_UNUSED_PARAM(p_config);

    // TODO: if (RETURN_CODE_OK != i2c_transfer(dev_addr, p_send_data, send_len, p_recv_data, recv_len))

    int ret = i2c_write_read(i2c_dev2, LIS12DH_I2C_ADDR, p_send_data, send_len, p_recv_data, recv_len);
    if (ret < 0) {
        return ERR_DATA_TRANSFER;
    }
    

    return ERR_SUCCESS;
}

err_code_t vs_acc_osal_get_tick(const char *p_config, uint32_t *p_ms_tick)
{
    M_UNUSED_PARAM(p_config);

    // TODO: if (RETURN_CODE_OK != get_microseconds(p_ms_tick))
    
    

    return ERR_SUCCESS;
}
```
